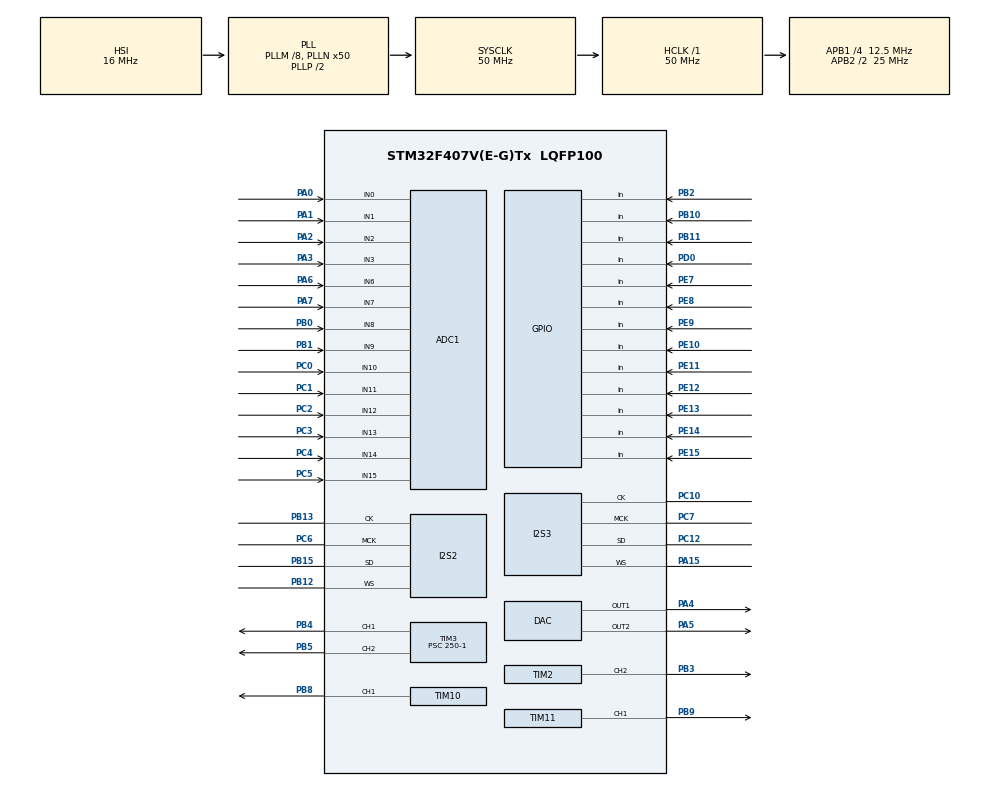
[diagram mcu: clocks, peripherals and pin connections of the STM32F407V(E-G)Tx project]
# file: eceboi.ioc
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ADC1.Channel-0\#ChannelRegularConversion=ADC_CHANNEL_0
ADC1.NbrOfConversionFlag=1
ADC1.Rank-0\#ChannelRegularConversion=1
ADC1.SamplingTime-0\#ChannelRegularConversion=ADC_SAMPLETIME_3CYCLES
ADC1.master=1
Dma.Request0=SPI2_TX
Dma.Request1=SPI3_RX
Dma.SPI2_TX.0.Direction=DMA_MEMORY_TO_PERIPH
Dma.SPI2_TX.0.FIFOMode=DMA_FIFOMODE_DISABLE
Dma.SPI2_TX.0.Instance=DMA1_Stream4
Dma.SPI2_TX.0.MemDataAlignment=DMA_MDATAALIGN_HALFWORD
Dma.SPI2_TX.0.MemInc=DMA_MINC_ENABLE
Dma.SPI2_TX.0.Mode=DMA_CIRCULAR
Dma.SPI2_TX.0.PeriphDataAlignment=DMA_PDATAALIGN_HALFWORD
Dma.SPI2_TX.0.PeriphInc=DMA_PINC_DISABLE
Dma.SPI2_TX.0.Priority=DMA_PRIORITY_LOW
Dma.SPI3_RX.1.Direction=DMA_PERIPH_TO_MEMORY
Dma.SPI3_RX.1.FIFOMode=DMA_FIFOMODE_DISABLE
Dma.SPI3_RX.1.Instance=DMA1_Stream0
Dma.SPI3_RX.1.MemDataAlignment=DMA_MDATAALIGN_HALFWORD
Dma.SPI3_RX.1.MemInc=DMA_MINC_ENABLE
Dma.SPI3_RX.1.Mode=DMA_CIRCULAR
Dma.SPI3_RX.1.PeriphDataAlignment=DMA_PDATAALIGN_HALFWORD
Dma.SPI3_RX.1.PeriphInc=DMA_PINC_DISABLE
Dma.SPI3_RX.1.Priority=DMA_PRIORITY_LOW
I2S2.AudioFreq=I2S_AUDIOFREQ_44K
I2S2.DataFormat=I2S_DATAFORMAT_24B
I2S2.ErrorAudioFreq=10.97 %
I2S2.FullDuplexMode=I2S_FULLDUPLEXMODE_DISABLE
I2S2.Instance=SPI$Index
I2S2.RealAudioFreq=48.828 KHz
I2S2.Standard=I2S_STANDARD_PHILIPS
I2S2.VirtualMode=I2S_MODE_MASTER
I2S3.AudioFreq=I2S_AUDIOFREQ_44K
I2S3.DataFormat=I2S_DATAFORMAT_24B
I2S3.ErrorAudioFreq=10.97 %
I2S3.FullDuplexMode=I2S_FULLDUPLEXMODE_DISABLE
I2S3.Instance=SPI$Index
I2S3.Mode=I2S_MODE_MASTER_RX
I2S3.RealAudioFreq=48.828 KHz
I2S3.VirtualMode=I2S_MODE_MASTER
Mcu.Family=STM32F4
Mcu.Name=STM32F407V(E-G)Tx
Mcu.Package=LQFP100
NVIC.DMA1_Stream0_IRQn=true\:0\:0\:false\:false\:true\:false\:true
NVIC.DMA1_Stream4_IRQn=true\:0\:0\:false\:false\:true\:false\:true
NVIC.PriorityGroup=NVIC_PRIORITYGROUP_0
PA0-WKUP.Signal=ADCx_IN0
PA1.Signal=ADCx_IN1
PA15.Mode=Half_Duplex_Master
PA15.Signal=I2S3_WS
PA2.Signal=ADCx_IN2
PA3.Signal=ADCx_IN3
PA4.Signal=COMP_DAC1_group
PA5.Signal=COMP_DAC2_group
PA6.Signal=ADCx_IN6
PA7.Signal=ADCx_IN7
PB0.Signal=ADCx_IN8
PB1.Signal=ADCx_IN9
PB10.Signal=GPIO_Input
PB11.Signal=GPIO_Input
PB12.Mode=Half_Duplex_Master
PB12.Signal=I2S2_WS
PB13.Mode=Half_Duplex_Master
PB13.Signal=I2S2_CK
PB15.Mode=Half_Duplex_Master
PB15.Signal=I2S2_SD
PB2.Signal=GPIO_Input
PB3.Signal=S_TIM2_CH2
PB4.Signal=S_TIM3_CH1
PB5.Signal=S_TIM3_CH2
PB8.Signal=S_TIM10_CH1
PB9.Signal=S_TIM11_CH1
PC0.Signal=ADCx_IN10
PC1.Signal=ADCx_IN11
PC10.Mode=Half_Duplex_Master
PC10.Signal=I2S3_CK
PC12.Mode=Half_Duplex_Master
PC12.Signal=I2S3_SD
PC2.Signal=ADCx_IN12
PC3.Signal=ADCx_IN13
PC4.Signal=ADCx_IN14
PC5.Signal=ADCx_IN15
PC6.Mode=Master_Clock_Activated
PC6.Signal=I2S2_MCK
PC7.Mode=Master_Clock_Activated
PC7.Signal=I2S3_MCK
PD0.Signal=GPIO_Input
PE10.Signal=GPIO_Input
PE11.Signal=GPIO_Input
PE12.Signal=GPIO_Input
PE13.Signal=GPIO_Input
PE14.Signal=GPIO_Input
PE15.Signal=GPIO_Input
PE7.Signal=GPIO_Input
PE8.Signal=GPIO_Input
PE9.Signal=GPIO_Input
ProjectManager.HeapSize=0x200
ProjectManager.StackSize=0x400
ProjectManager.TargetToolchain=STM32CubeIDE
RCC.48MHZClocksFreq_Value=14285714.285714285
RCC.AHBFreq_Value=50000000
RCC.APB1CLKDivider=RCC_HCLK_DIV4
RCC.APB1Freq_Value=12500000
RCC.APB1TimFreq_Value=25000000
RCC.APB2CLKDivider=RCC_HCLK_DIV2
RCC.APB2Freq_Value=25000000
RCC.APB2TimFreq_Value=50000000
RCC.CortexFreq_Value=50000000
RCC.HCLKFreq_Value=50000000
RCC.HSE_VALUE=8000000
RCC.HSI_VALUE=16000000
RCC.LSE_VALUE=32768
RCC.PLLI2SN=50
RCC.PLLM=8
RCC.PLLN=50
RCC.PLLQ=7
RCC.SYSCLKFreq_VALUE=50000000
RCC.SYSCLKSource=RCC_SYSCLKSOURCE_PLLCLK
RCC.VCOOutputFreq_Value=100000000
SH.ADCx_IN0.0=ADC1_IN0,IN0
SH.ADCx_IN1.0=ADC1_IN1,IN1
SH.ADCx_IN10.0=ADC1_IN10,IN10
SH.ADCx_IN11.0=ADC1_IN11,IN11
SH.ADCx_IN12.0=ADC1_IN12,IN12
SH.ADCx_IN13.0=ADC1_IN13,IN13
SH.ADCx_IN14.0=ADC1_IN14,IN14
SH.ADCx_IN15.0=ADC1_IN15,IN15
SH.ADCx_IN2.0=ADC1_IN2,IN2
SH.ADCx_IN3.0=ADC1_IN3,IN3
SH.ADCx_IN6.0=ADC1_IN6,IN6
SH.ADCx_IN7.0=ADC1_IN7,IN7
SH.ADCx_IN8.0=ADC1_IN8,IN8
SH.ADCx_IN9.0=ADC1_IN9,IN9
SH.COMP_DAC1_group.0=DAC_OUT1,DAC_OUT1
SH.COMP_DAC2_group.0=DAC_OUT2,DAC_OUT2
SH.S_TIM10_CH1.0=TIM10_CH1,PWM Generation1 CH1
SH.S_TIM11_CH1.0=TIM11_CH1,PWM Generation1 CH1
SH.S_TIM2_CH2.0=TIM2_CH2,PWM Generation2 CH2
SH.S_TIM3_CH1.0=TIM3_CH1,PWM Generation1 CH1
SH.S_TIM3_CH2.0=TIM3_CH2,PWM Generation2 CH2
TIM10.Channel=TIM_CHANNEL_1
TIM11.Channel=TIM_CHANNEL_1
TIM2.Channel-PWM\ Generation2\ CH2=TIM_CHANNEL_2
TIM3.Channel-PWM\ Generation1\ CH1=TIM_CHANNEL_1
TIM3.Channel-PWM\ Generation2\ CH2=TIM_CHANNEL_2
TIM3.Period=250-1
TIM3.Prescaler=250-1
TIM3.Pulse-PWM\ Generation1\ CH1=125-1
VP_TIM10_VS_ClockSourceINT.Mode=Enable_Timer
VP_TIM11_VS_ClockSourceINT.Mode=Enable_Timer
board=STM32F4DISCOVERY

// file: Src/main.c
/* USER CODE BEGIN Header */
/**
  ******************************************************************************
  * @file           : main.c
  * @brief          : Main program body
  ******************************************************************************
  * @attention
  *
  * <h2><center>&copy; Copyright (c) 2019 STMicroelectronics.
  * All rights reserved.</center></h2>
  *
  * This software component is licensed by ST under BSD 3-Clause license,
  * the "License"; You may not use this file except in compliance with the
  * License. You may obtain a copy of the License at:
  *                        opensource.org/licenses/BSD-3-Clause
  *
  ******************************************************************************
  */
/* USER CODE END Header */

#include "main.h"

/* USER CODE BEGIN Includes */
#include <math.h>
/* USER CODE END Includes */

ADC_HandleTypeDef hadc1;

DAC_HandleTypeDef hdac;

I2S_HandleTypeDef hi2s2;
I2S_HandleTypeDef hi2s3;
DMA_HandleTypeDef hdma_spi2_tx;
DMA_HandleTypeDef hdma_spi3_rx;

TIM_HandleTypeDef htim2;
TIM_HandleTypeDef htim3;
TIM_HandleTypeDef htim10;
TIM_HandleTypeDef htim11;

/* USER CODE BEGIN PV */
#define PI 3.14159f

//Sample rate and Output freq
#define F_SAMPLE		44000.0f
#define F_OUT			8000.0f
/* USER CODE END PV */

void SystemClock_Config(void);
static void MX_GPIO_Init(void);
static void MX_DMA_Init(void);
static void MX_I2S2_Init(void);
static void MX_I2S3_Init(void);
static void MX_TIM3_Init(void);
static void MX_ADC1_Init(void);
static void MX_DAC_Init(void);
static void MX_TIM2_Init(void);
static void MX_TIM10_Init(void);
static void MX_TIM11_Init(void);

/* USER CODE BEGIN 0 */
float mySinVal;
float sample_dt;
uint16_t sample_N;
uint16_t i_t;

int32_t dataI2S[4400];
int32_t ain[256];
int32_t aout[256];
/* USER CODE END 0 */

int main(void)
{
  /* USER CODE BEGIN 1 */
  sample_dt = F_OUT/F_SAMPLE;
  sample_N = F_SAMPLE/F_OUT;
  /* USER CODE END 1 */

  /* MCU Configuration--------------------------------------------------------*/

  /* Reset of all peripherals, Initializes the Flash interface and the Systick. */
  HAL_Init();

  /* Configure the system clock */
  SystemClock_Config();

  /* Initialize all configured peripherals */
  MX_GPIO_Init();
  MX_DMA_Init();
  MX_I2S2_Init();
  MX_I2S3_Init();
  MX_TIM3_Init();
  MX_ADC1_Init();
  MX_DAC_Init();
  MX_TIM2_Init();
  MX_TIM10_Init();
  MX_TIM11_Init();
  /* USER CODE BEGIN 2 */

  //Build Sine wave
  for (uint16_t i=0; i<sample_N; i++) {
  	mySinVal = sinf(i*2*PI*sample_dt);
  	dataI2S[i*2] = (mySinVal)*1048575;    //left data (L WS) (0 2 4 6 8 10 12)
  	dataI2S[i*2 + 1] = (mySinVal)*1048575; //Right data (H WS)  (1 3 5 7 9 11 13)
  	dataI2S[i*2] = ((dataI2S[i*2] & 0x00FFFF00) >> 8) | ((dataI2S[i*2] & 0xFF) << 24);
  	dataI2S[i*2 + 1] = ((dataI2S[i*2 + 1] & 0x00FFFF00) >> 8) | ((dataI2S[i*2 + 1] & 0xFF) << 24);
  }
  HAL_I2S_Transmit_DMA(&hi2s2, (uint16_t *)dataI2S, sample_N*2);

//  HAL_Delay(500);
//  HAL_GPIO_WritePin(GPIOE, GPIO_PIN_5, GPIO_PIN_SET);
//
//  HAL_I2S_Receive_DMA(&hi2s3, (uint16_t *)dataI2Sin, 256);
//  HAL_I2S_Transmit_DMA(&hi2s2, (uint16_t *)dataI2Sout, 256);

  /* USER CODE END 2 */

  /* Infinite loop */
  while (1)
  {

  }
}

void SystemClock_Config(void)
{
  RCC_OscInitTypeDef RCC_OscInitStruct = {0};
  RCC_ClkInitTypeDef RCC_ClkInitStruct = {0};
  RCC_PeriphCLKInitTypeDef PeriphClkInitStruct = {0};

  /** Configure the main internal regulator output voltage
  */
  __HAL_RCC_PWR_CLK_ENABLE();
  __HAL_PWR_VOLTAGESCALING_CONFIG(PWR_REGULATOR_VOLTAGE_SCALE1);
  /** Initializes the CPU, AHB and APB busses clocks
  */
  RCC_OscInitStruct.OscillatorType = RCC_OSCILLATORTYPE_HSI;
  RCC_OscInitStruct.HSIState = RCC_HSI_ON;
  RCC_OscInitStruct.HSICalibrationValue = RCC_HSICALIBRATION_DEFAULT;
  RCC_OscInitStruct.PLL.PLLState = RCC_PLL_ON;
  RCC_OscInitStruct.PLL.PLLSource = RCC_PLLSOURCE_HSI;
  RCC_OscInitStruct.PLL.PLLM = 8;
  RCC_OscInitStruct.PLL.PLLN = 50;
  RCC_OscInitStruct.PLL.PLLP = RCC_PLLP_DIV2;
  RCC_OscInitStruct.PLL.PLLQ = 7;
  if (HAL_RCC_OscConfig(&RCC_OscInitStruct) != HAL_OK)
  {
    Error_Handler();
  }
  /** Initializes the CPU, AHB and APB busses clocks
  */
  RCC_ClkInitStruct.ClockType = RCC_CLOCKTYPE_HCLK|RCC_CLOCKTYPE_SYSCLK
                              |RCC_CLOCKTYPE_PCLK1|RCC_CLOCKTYPE_PCLK2;
  RCC_ClkInitStruct.SYSCLKSource = RCC_SYSCLKSOURCE_PLLCLK;
  RCC_ClkInitStruct.AHBCLKDivider = RCC_SYSCLK_DIV1;
  RCC_ClkInitStruct.APB1CLKDivider = RCC_HCLK_DIV4;
  RCC_ClkInitStruct.APB2CLKDivider = RCC_HCLK_DIV2;

  if (HAL_RCC_ClockConfig(&RCC_ClkInitStruct, FLASH_LATENCY_1) != HAL_OK)
  {
    Error_Handler();
  }
  PeriphClkInitStruct.PeriphClockSelection = RCC_PERIPHCLK_I2S;
  PeriphClkInitStruct.PLLI2S.PLLI2SN = 50;
  PeriphClkInitStruct.PLLI2S.PLLI2SR = 2;
  if (HAL_RCCEx_PeriphCLKConfig(&PeriphClkInitStruct) != HAL_OK)
  {
    Error_Handler();
  }
}

static void MX_ADC1_Init(void)
{

  ADC_ChannelConfTypeDef sConfig = {0};

  /** Configure the global features of the ADC (Clock, Resolution, Data Alignment and number of conversion)
  */
  hadc1.Instance = ADC1;
  hadc1.Init.ClockPrescaler = ADC_CLOCK_SYNC_PCLK_DIV2;
  hadc1.Init.Resolution = ADC_RESOLUTION_12B;
  hadc1.Init.ScanConvMode = DISABLE;
  hadc1.Init.ContinuousConvMode = DISABLE;
  hadc1.Init.DiscontinuousConvMode = DISABLE;
  hadc1.Init.ExternalTrigConvEdge = ADC_EXTERNALTRIGCONVEDGE_NONE;
  hadc1.Init.ExternalTrigConv = ADC_SOFTWARE_START;
  hadc1.Init.DataAlign = ADC_DATAALIGN_RIGHT;
  hadc1.Init.NbrOfConversion = 1;
  hadc1.Init.DMAContinuousRequests = DISABLE;
  hadc1.Init.EOCSelection = ADC_EOC_SINGLE_CONV;
  if (HAL_ADC_Init(&hadc1) != HAL_OK)
  {
    Error_Handler();
  }
  /** Configure for the selected ADC regular channel its corresponding rank in the sequencer and its sample time.
  */
  sConfig.Channel = ADC_CHANNEL_0;
  sConfig.Rank = 1;
  sConfig.SamplingTime = ADC_SAMPLETIME_3CYCLES;
  if (HAL_ADC_ConfigChannel(&hadc1, &sConfig) != HAL_OK)
  {
    Error_Handler();
  }

}

static void MX_DAC_Init(void)
{

  DAC_ChannelConfTypeDef sConfig = {0};

  /** DAC Initialization
  */
  hdac.Instance = DAC;
  if (HAL_DAC_Init(&hdac) != HAL_OK)
  {
    Error_Handler();
  }
  /** DAC channel OUT1 config
  */
  sConfig.DAC_Trigger = DAC_TRIGGER_NONE;
  sConfig.DAC_OutputBuffer = DAC_OUTPUTBUFFER_ENABLE;
  if (HAL_DAC_ConfigChannel(&hdac, &sConfig, DAC_CHANNEL_1) != HAL_OK)
  {
    Error_Handler();
  }
  /** DAC channel OUT2 config
  */
  if (HAL_DAC_ConfigChannel(&hdac, &sConfig, DAC_CHANNEL_2) != HAL_OK)
  {
    Error_Handler();
  }

}

static void MX_I2S2_Init(void)
{

  hi2s2.Instance = SPI2;
  hi2s2.Init.Mode = I2S_MODE_MASTER_TX;
  hi2s2.Init.Standard = I2S_STANDARD_PHILIPS;
  hi2s2.Init.DataFormat = I2S_DATAFORMAT_24B;
  hi2s2.Init.MCLKOutput = I2S_MCLKOUTPUT_ENABLE;
  hi2s2.Init.AudioFreq = I2S_AUDIOFREQ_44K;
  hi2s2.Init.CPOL = I2S_CPOL_LOW;
  hi2s2.Init.ClockSource = I2S_CLOCK_PLL;
  hi2s2.Init.FullDuplexMode = I2S_FULLDUPLEXMODE_DISABLE;
  if (HAL_I2S_Init(&hi2s2) != HAL_OK)
  {
    Error_Handler();
  }

}

static void MX_I2S3_Init(void)
{

  hi2s3.Instance = SPI3;
  hi2s3.Init.Mode = I2S_MODE_MASTER_RX;
  hi2s3.Init.Standard = I2S_STANDARD_PHILIPS;
  hi2s3.Init.DataFormat = I2S_DATAFORMAT_24B;
  hi2s3.Init.MCLKOutput = I2S_MCLKOUTPUT_ENABLE;
  hi2s3.Init.AudioFreq = I2S_AUDIOFREQ_44K;
  hi2s3.Init.CPOL = I2S_CPOL_LOW;
  hi2s3.Init.ClockSource = I2S_CLOCK_PLL;
  hi2s3.Init.FullDuplexMode = I2S_FULLDUPLEXMODE_DISABLE;
  if (HAL_I2S_Init(&hi2s3) != HAL_OK)
  {
    Error_Handler();
  }

}

static void MX_TIM2_Init(void)
{

  TIM_MasterConfigTypeDef sMasterConfig = {0};
  TIM_OC_InitTypeDef sConfigOC = {0};

  htim2.Instance = TIM2;
  htim2.Init.Prescaler = 0;
  htim2.Init.CounterMode = TIM_COUNTERMODE_UP;
  htim2.Init.Period = 0;
  htim2.Init.ClockDivision = TIM_CLOCKDIVISION_DIV1;
  htim2.Init.AutoReloadPreload = TIM_AUTORELOAD_PRELOAD_DISABLE;
  if (HAL_TIM_PWM_Init(&htim2) != HAL_OK)
  {
    Error_Handler();
  }
  sMasterConfig.MasterOutputTrigger = TIM_TRGO_RESET;
  sMasterConfig.MasterSlaveMode = TIM_MASTERSLAVEMODE_DISABLE;
  if (HAL_TIMEx_MasterConfigSynchronization(&htim2, &sMasterConfig) != HAL_OK)
  {
    Error_Handler();
  }
  sConfigOC.OCMode = TIM_OCMODE_PWM1;
  sConfigOC.Pulse = 0;
  sConfigOC.OCPolarity = TIM_OCPOLARITY_HIGH;
  sConfigOC.OCFastMode = TIM_OCFAST_DISABLE;
  if (HAL_TIM_PWM_ConfigChannel(&htim2, &sConfigOC, TIM_CHANNEL_2) != HAL_OK)
  {
    Error_Handler();
  }
  HAL_TIM_MspPostInit(&htim2);

}

static void MX_TIM3_Init(void)
{

  TIM_MasterConfigTypeDef sMasterConfig = {0};
  TIM_OC_InitTypeDef sConfigOC = {0};

  htim3.Instance = TIM3;
  htim3.Init.Prescaler = 250-1;
  htim3.Init.CounterMode = TIM_COUNTERMODE_UP;
  htim3.Init.Period = 250-1;
  htim3.Init.ClockDivision = TIM_CLOCKDIVISION_DIV1;
  htim3.Init.AutoReloadPreload = TIM_AUTORELOAD_PRELOAD_DISABLE;
  if (HAL_TIM_PWM_Init(&htim3) != HAL_OK)
  {
    Error_Handler();
  }
  sMasterConfig.MasterOutputTrigger = TIM_TRGO_RESET;
  sMasterConfig.MasterSlaveMode = TIM_MASTERSLAVEMODE_DISABLE;
  if (HAL_TIMEx_MasterConfigSynchronization(&htim3, &sMasterConfig) != HAL_OK)
  {
    Error_Handler();
  }
  sConfigOC.OCMode = TIM_OCMODE_PWM1;
  sConfigOC.Pulse = 125-1;
  sConfigOC.OCPolarity = TIM_OCPOLARITY_HIGH;
  sConfigOC.OCFastMode = TIM_OCFAST_DISABLE;
  if (HAL_TIM_PWM_ConfigChannel(&htim3, &sConfigOC, TIM_CHANNEL_1) != HAL_OK)
  {
    Error_Handler();
  }
  sConfigOC.Pulse = 0;
  if (HAL_TIM_PWM_ConfigChannel(&htim3, &sConfigOC, TIM_CHANNEL_2) != HAL_OK)
  {
    Error_Handler();
  }
  HAL_TIM_MspPostInit(&htim3);

}

static void MX_TIM10_Init(void)
{

  TIM_OC_InitTypeDef sConfigOC = {0};

  htim10.Instance = TIM10;
  htim10.Init.Prescaler = 0;
  htim10.Init.CounterMode = TIM_COUNTERMODE_UP;
  htim10.Init.Period = 0;
  htim10.Init.ClockDivision = TIM_CLOCKDIVISION_DIV1;
  htim10.Init.AutoReloadPreload = TIM_AUTORELOAD_PRELOAD_DISABLE;
  if (HAL_TIM_Base_Init(&htim10) != HAL_OK)
  {
    Error_Handler();
  }
  if (HAL_TIM_PWM_Init(&htim10) != HAL_OK)
  {
    Error_Handler();
  }
  sConfigOC.OCMode = TIM_OCMODE_PWM1;
  sConfigOC.Pulse = 0;
  sConfigOC.OCPolarity = TIM_OCPOLARITY_HIGH;
  sConfigOC.OCFastMode = TIM_OCFAST_DISABLE;
  if (HAL_TIM_PWM_ConfigChannel(&htim10, &sConfigOC, TIM_CHANNEL_1) != HAL_OK)
  {
    Error_Handler();
  }
  HAL_TIM_MspPostInit(&htim10);

}

static void MX_TIM11_Init(void)
{

  TIM_OC_InitTypeDef sConfigOC = {0};

  htim11.Instance = TIM11;
  htim11.Init.Prescaler = 0;
  htim11.Init.CounterMode = TIM_COUNTERMODE_UP;
  htim11.Init.Period = 0;
  htim11.Init.ClockDivision = TIM_CLOCKDIVISION_DIV1;
  htim11.Init.AutoReloadPreload = TIM_AUTORELOAD_PRELOAD_DISABLE;
  if (HAL_TIM_Base_Init(&htim11) != HAL_OK)
  {
    Error_Handler();
  }
  if (HAL_TIM_PWM_Init(&htim11) != HAL_OK)
  {
    Error_Handler();
  }
  sConfigOC.OCMode = TIM_OCMODE_PWM1;
  sConfigOC.Pulse = 0;
  sConfigOC.OCPolarity = TIM_OCPOLARITY_HIGH;
  sConfigOC.OCFastMode = TIM_OCFAST_DISABLE;
  if (HAL_TIM_PWM_ConfigChannel(&htim11, &sConfigOC, TIM_CHANNEL_1) != HAL_OK)
  {
    Error_Handler();
  }
  HAL_TIM_MspPostInit(&htim11);

}

static void MX_DMA_Init(void)
{

  /* DMA controller clock enable */
  __HAL_RCC_DMA1_CLK_ENABLE();

  /* DMA interrupt init */
  /* DMA1_Stream0_IRQn interrupt configuration */
  HAL_NVIC_SetPriority(DMA1_Stream0_IRQn, 0, 0);
  HAL_NVIC_EnableIRQ(DMA1_Stream0_IRQn);
  /* DMA1_Stream4_IRQn interrupt configuration */
  HAL_NVIC_SetPriority(DMA1_Stream4_IRQn, 0, 0);
  HAL_NVIC_EnableIRQ(DMA1_Stream4_IRQn);

}

static void MX_GPIO_Init(void)
{
  GPIO_InitTypeDef GPIO_InitStruct = {0};

  /* GPIO Ports Clock Enable */
  __HAL_RCC_GPIOC_CLK_ENABLE();
  __HAL_RCC_GPIOA_CLK_ENABLE();
  __HAL_RCC_GPIOB_CLK_ENABLE();
  __HAL_RCC_GPIOE_CLK_ENABLE();
  __HAL_RCC_GPIOD_CLK_ENABLE();

  /*Configure GPIO pins : PB2 PB10 PB11 */
  GPIO_InitStruct.Pin = GPIO_PIN_2|GPIO_PIN_10|GPIO_PIN_11;
  GPIO_InitStruct.Mode = GPIO_MODE_INPUT;
  GPIO_InitStruct.Pull = GPIO_NOPULL;
  HAL_GPIO_Init(GPIOB, &GPIO_InitStruct);

  /*Configure GPIO pins : PE7 PE8 PE9 PE10
                           PE11 PE12 PE13 PE14
                           PE15 */
  GPIO_InitStruct.Pin = GPIO_PIN_7|GPIO_PIN_8|GPIO_PIN_9|GPIO_PIN_10
                          |GPIO_PIN_11|GPIO_PIN_12|GPIO_PIN_13|GPIO_PIN_14
                          |GPIO_PIN_15;
  GPIO_InitStruct.Mode = GPIO_MODE_INPUT;
  GPIO_InitStruct.Pull = GPIO_NOPULL;
  HAL_GPIO_Init(GPIOE, &GPIO_InitStruct);

  /*Configure GPIO pin : PD0 */
  GPIO_InitStruct.Pin = GPIO_PIN_0;
  GPIO_InitStruct.Mode = GPIO_MODE_INPUT;
  GPIO_InitStruct.Pull = GPIO_NOPULL;
  HAL_GPIO_Init(GPIOD, &GPIO_InitStruct);

}

/* USER CODE BEGIN 4 */

void HAL_I2S_RxCpltCallback(I2S_HandleTypeDef *hi2s)
{
  /* Prevent unused argument(s) compilation warning */
  UNUSED(hi2s);

  /* NOTE : This function Should not be modified, when the callback is needed,
            the HAL_I2S_RxCpltCallback could be implemented in the user file
   */
  for (int i = 0; i < sizeof(ain)/sizeof(ain[0]); i++) {
//      dataI2Sout[i] = ((dataI2Sin[i] & 0x0000FFFF) << 8) | ((dataI2Sin[i] & 0xFF000000) >> 24);
	  aout[i] = ain[i];
  }
}

/* USER CODE END 4 */

void Error_Handler(void)
{
}

/************************ (C) COPYRIGHT STMicroelectronics *****END OF FILE****/
